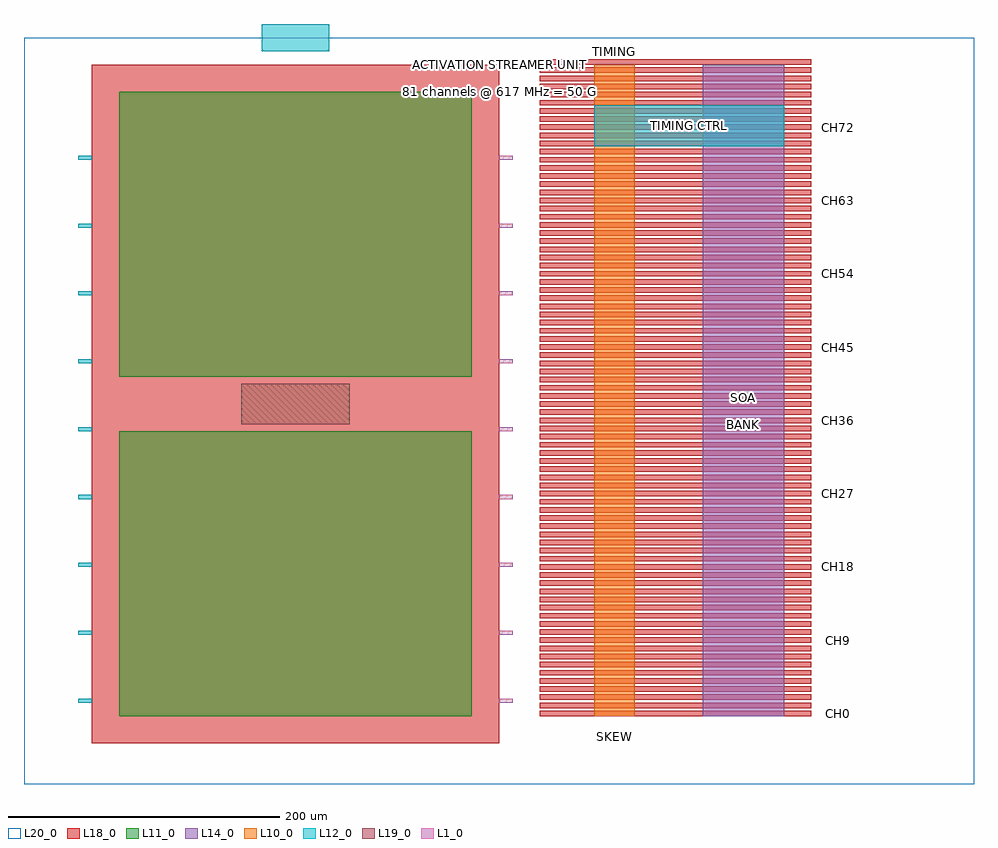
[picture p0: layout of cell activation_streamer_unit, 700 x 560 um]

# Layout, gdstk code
import gdstk
lib = gdstk.Library(unit=1e-6, precision=1e-09)
def R(c, l, rs):  # rectangles x0, y0, x1, y1
    for r in rs: c.add(gdstk.rectangle(r[:2], r[2:], *l))
def A(c, l, x, y, w, h, nx, ny, dx, dy):  # array of equal rectangles
    R(c, l, [(x+i*dx, y+j*dy, x+i*dx+w, y+j*dy+h) for i in range(nx) for j in range(ny)])
L1_0 = (1, 0)
L10_0 = (10, 0)
L11_0 = (11, 0)
L12_0 = (12, 0)
L14_0 = (14, 0)
L18_0 = (18, 0)
L19_0 = (19, 0)
L20_0 = (20, 0)

double_buffer_81ch = lib.new_cell('double_buffer_81ch')
A(double_buffer_81ch, L1_0, 300, 30, 10, 3, 1, 9, 0, 50)
R(double_buffer_81ch, L11_0, [(20,20,280,230), (20,270,280,480)])
A(double_buffer_81ch, L12_0, -10, 30, 10, 3, 1, 9, 0, 50)
R(double_buffer_81ch, L12_0, [(125,510,175,530)])
R(double_buffer_81ch, L18_0, [(0,0,300,500)])
R(double_buffer_81ch, L19_0, [(110,235,190,265)])
double_buffer_81ch.add(gdstk.Label('BUFFER A', (150,375), layer=100, texttype=0))
double_buffer_81ch.add(gdstk.Label('(READ)', (150,355), layer=100, texttype=0))
double_buffer_81ch.add(gdstk.Label('BUFFER B', (150,125), layer=100, texttype=0))
double_buffer_81ch.add(gdstk.Label('(WRITE)', (150,105), layer=100, texttype=0))
double_buffer_81ch.add(gdstk.Label('SWAP', (150,250), layer=100, texttype=0))
double_buffer_81ch.add(gdstk.Label('DOUBLE BUFFER', (150,495), layer=100, texttype=0))
double_buffer_81ch.add(gdstk.Label('81 channels Ã\x97 9 trits Ã\x97 2', (150,10), layer=100, texttype=0))
double_buffer_81ch.add(gdstk.Label('FROM', (-25,125), layer=100, texttype=0))
double_buffer_81ch.add(gdstk.Label('HOST', (-25,110), layer=100, texttype=0))
double_buffer_81ch.add(gdstk.Label('TO', (325,125), layer=100, texttype=0))
double_buffer_81ch.add(gdstk.Label('ARRAY', (325,110), layer=100, texttype=0))
double_buffer_81ch.add(gdstk.Label('SWAP_SEL', (150,540), layer=100, texttype=0))

activation_streamer_unit = lib.new_cell('activation_streamer_unit')
R(activation_streamer_unit, L10_0, [(420,50,450,530)])
R(activation_streamer_unit, L12_0, [(420,470,560,500)])
R(activation_streamer_unit, L14_0, [(500,50,560,530)])
A(activation_streamer_unit, L18_0, 380, 50, 200, 4, 1, 81, 0, 6)
R(activation_streamer_unit, L20_0, [(0,0,700,550)])
activation_streamer_unit.add(gdstk.Reference(double_buffer_81ch, (50,30)))
activation_streamer_unit.add(gdstk.Label('ACTIVATION STREAMER UNIT', (350,530), layer=100, texttype=0))
activation_streamer_unit.add(gdstk.Label('81 channels @ 617 MHz = 50 Gtrits/s', (350,510), layer=100, texttype=0))
activation_streamer_unit.add(gdstk.Label('CH0', (600,52), layer=100, texttype=0))
activation_streamer_unit.add(gdstk.Label('CH9', (600,106), layer=100, texttype=0))
activation_streamer_unit.add(gdstk.Label('CH18', (600,160), layer=100, texttype=0))
activation_streamer_unit.add(gdstk.Label('CH27', (600,214), layer=100, texttype=0))
activation_streamer_unit.add(gdstk.Label('CH36', (600,268), layer=100, texttype=0))
activation_streamer_unit.add(gdstk.Label('CH45', (600,322), layer=100, texttype=0))
activation_streamer_unit.add(gdstk.Label('CH54', (600,376), layer=100, texttype=0))
activation_streamer_unit.add(gdstk.Label('CH63', (600,430), layer=100, texttype=0))
activation_streamer_unit.add(gdstk.Label('CH72', (600,484), layer=100, texttype=0))
activation_streamer_unit.add(gdstk.Label('TIMING', (435,540), layer=100, texttype=0))
activation_streamer_unit.add(gdstk.Label('SKEW', (435,35), layer=100, texttype=0))
activation_streamer_unit.add(gdstk.Label('SOA', (530,285), layer=100, texttype=0))
activation_streamer_unit.add(gdstk.Label('BANK', (530,265), layer=100, texttype=0))
activation_streamer_unit.add(gdstk.Label('TIMING CTRL', (490,485), layer=100, texttype=0))

lib.write_gds('activation_streamer_unit.gds')
